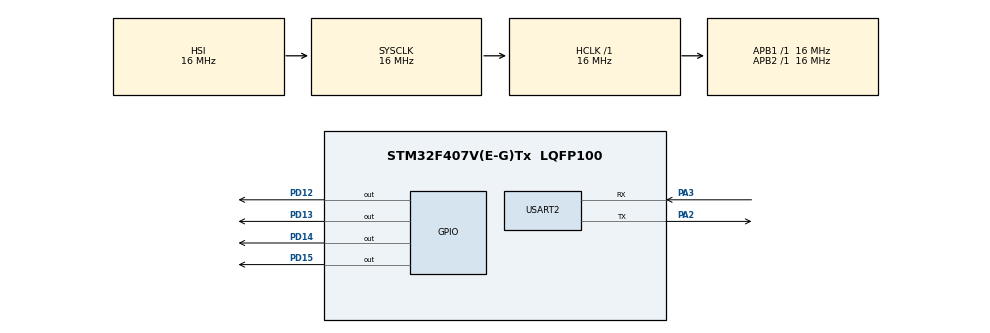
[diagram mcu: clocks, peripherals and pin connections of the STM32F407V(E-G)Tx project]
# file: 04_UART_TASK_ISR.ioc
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FREERTOS.Tasks01=defaultTask,24,128,StartDefaultTask,Default,NULL,Dynamic,NULL,NULL
FREERTOS.configUSE_NEWLIB_REENTRANT=1
Mcu.Family=STM32F4
Mcu.Name=STM32F407V(E-G)Tx
Mcu.Package=LQFP100
NVIC.PriorityGroup=NVIC_PRIORITYGROUP_4
NVIC.TIM1_UP_TIM10_IRQn=true\:15\:0\:false\:false\:true\:false\:false\:true\:true
NVIC.TimeBase=TIM1_UP_TIM10_IRQn
NVIC.TimeBaseIP=TIM1
NVIC.USART2_IRQn=true\:5\:0\:false\:false\:true\:true\:true\:true\:true
PA2.Mode=Asynchronous
PA2.Signal=USART2_TX
PA3.Mode=Asynchronous
PA3.Signal=USART2_RX
PD12.Signal=GPIO_Output
PD13.Signal=GPIO_Output
PD14.Signal=GPIO_Output
PD15.Signal=GPIO_Output
ProjectManager.HeapSize=0x200
ProjectManager.StackSize=0x400
ProjectManager.TargetToolchain=STM32CubeIDE
RCC.AHBFreq_Value=16000000
RCC.APB1Freq_Value=16000000
RCC.APB2Freq_Value=16000000
RCC.CortexFreq_Value=16000000
RCC.HSE_VALUE=25000000
RCC.HSI_VALUE=16000000
RCC.LSE_VALUE=32768
RCC.SYSCLKFreq_VALUE=16000000
RCC.VCOOutputFreq_Value=192000000
USART2.VirtualMode=VM_ASYNC
VP_FREERTOS_VS_CMSIS_V2.Mode=CMSIS_V2
VP_SYS_VS_tim1.Mode=TIM1
board=custom

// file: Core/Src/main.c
/* USER CODE BEGIN Header */
/**
  ******************************************************************************
  * @file           : main.c
  * @brief          : Main program body
  ******************************************************************************
  * @attention
  *
  * Copyright (c) 2025 STMicroelectronics.
  * All rights reserved.
  *
  * This software is licensed under terms that can be found in the LICENSE file
  * in the root directory of this software component.
  * If no LICENSE file comes with this software, it is provided AS-IS.
  *
  ******************************************************************************
  */
/* USER CODE END Header */
#include "main.h"
#include "cmsis_os.h"

UART_HandleTypeDef huart2;

/* Definitions for defaultTask */
osThreadId_t defaultTaskHandle;
const osThreadAttr_t defaultTask_attributes = {
  .name = "defaultTask",
  .stack_size = 128 * 4,
  .priority = (osPriority_t) osPriorityNormal,
};
/* USER CODE BEGIN PV */
uint8_t rcvByte;
int x,y;
osThreadId_t LedTaskHandle;
const osThreadAttr_t LedTask_attributes = {
  .name = "LedTask",
  .stack_size = 128 * 4,
  .priority = (osPriority_t) osPriorityNormal,
};
/* USER CODE END PV */

void SystemClock_Config(void);
static void MX_GPIO_Init(void);
static void MX_USART2_UART_Init(void);
void StartDefaultTask(void *argument);

/* USER CODE BEGIN PFP */
void LedTask(void *argument);

/* USER CODE END PFP */

int main(void)
{

  /* MCU Configuration--------------------------------------------------------*/

  /* Reset of all peripherals, Initializes the Flash interface and the Systick. */
  HAL_Init();

  /* Configure the system clock */
  SystemClock_Config();

  /* Initialize all configured peripherals */
  MX_GPIO_Init();
  MX_USART2_UART_Init();
  /* USER CODE BEGIN 2 */
  HAL_UART_Receive_IT(&huart2, &rcvByte, 1);

  /* USER CODE END 2 */

  /* Init scheduler */
  osKernelInitialize();

  /* Create the thread(s) */
  /* creation of defaultTask */
  defaultTaskHandle = osThreadNew(StartDefaultTask, NULL, &defaultTask_attributes);

  /* USER CODE BEGIN RTOS_THREADS */
  LedTaskHandle = osThreadNew(LedTask, NULL, &LedTask_attributes);
  /* USER CODE END RTOS_THREADS */

  /* Start scheduler */
  osKernelStart();

  /* We should never get here as control is now taken by the scheduler */

  /* Infinite loop */
  while (1)
  {

  }
}

void SystemClock_Config(void)
{
  RCC_OscInitTypeDef RCC_OscInitStruct = {0};
  RCC_ClkInitTypeDef RCC_ClkInitStruct = {0};

  /** Configure the main internal regulator output voltage
  */
  __HAL_RCC_PWR_CLK_ENABLE();
  __HAL_PWR_VOLTAGESCALING_CONFIG(PWR_REGULATOR_VOLTAGE_SCALE1);

  /** Initializes the RCC Oscillators according to the specified parameters
  * in the RCC_OscInitTypeDef structure.
  */
  RCC_OscInitStruct.OscillatorType = RCC_OSCILLATORTYPE_HSI;
  RCC_OscInitStruct.HSIState = RCC_HSI_ON;
  RCC_OscInitStruct.HSICalibrationValue = RCC_HSICALIBRATION_DEFAULT;
  RCC_OscInitStruct.PLL.PLLState = RCC_PLL_NONE;
  if (HAL_RCC_OscConfig(&RCC_OscInitStruct) != HAL_OK)
  {
    Error_Handler();
  }

  /** Initializes the CPU, AHB and APB buses clocks
  */
  RCC_ClkInitStruct.ClockType = RCC_CLOCKTYPE_HCLK|RCC_CLOCKTYPE_SYSCLK
                              |RCC_CLOCKTYPE_PCLK1|RCC_CLOCKTYPE_PCLK2;
  RCC_ClkInitStruct.SYSCLKSource = RCC_SYSCLKSOURCE_HSI;
  RCC_ClkInitStruct.AHBCLKDivider = RCC_SYSCLK_DIV1;
  RCC_ClkInitStruct.APB1CLKDivider = RCC_HCLK_DIV1;
  RCC_ClkInitStruct.APB2CLKDivider = RCC_HCLK_DIV1;

  if (HAL_RCC_ClockConfig(&RCC_ClkInitStruct, FLASH_LATENCY_0) != HAL_OK)
  {
    Error_Handler();
  }
}

static void MX_USART2_UART_Init(void)
{

  huart2.Instance = USART2;
  huart2.Init.BaudRate = 115200;
  huart2.Init.WordLength = UART_WORDLENGTH_8B;
  huart2.Init.StopBits = UART_STOPBITS_1;
  huart2.Init.Parity = UART_PARITY_NONE;
  huart2.Init.Mode = UART_MODE_TX_RX;
  huart2.Init.HwFlowCtl = UART_HWCONTROL_NONE;
  huart2.Init.OverSampling = UART_OVERSAMPLING_16;
  if (HAL_UART_Init(&huart2) != HAL_OK)
  {
    Error_Handler();
  }

}

static void MX_GPIO_Init(void)
{
  GPIO_InitTypeDef GPIO_InitStruct = {0};

  /* GPIO Ports Clock Enable */
  __HAL_RCC_GPIOA_CLK_ENABLE();
  __HAL_RCC_GPIOD_CLK_ENABLE();

  /*Configure GPIO pin Output Level */
  HAL_GPIO_WritePin(GPIOD, GPIO_PIN_12|GPIO_PIN_13|GPIO_PIN_14|GPIO_PIN_15, GPIO_PIN_RESET);

  /*Configure GPIO pins : PD12 PD13 PD14 PD15 */
  GPIO_InitStruct.Pin = GPIO_PIN_12|GPIO_PIN_13|GPIO_PIN_14|GPIO_PIN_15;
  GPIO_InitStruct.Mode = GPIO_MODE_OUTPUT_PP;
  GPIO_InitStruct.Pull = GPIO_NOPULL;
  GPIO_InitStruct.Speed = GPIO_SPEED_FREQ_LOW;
  HAL_GPIO_Init(GPIOD, &GPIO_InitStruct);

}

/* USER CODE BEGIN 4 */
void LedTask(void *argument)
{

  for(;;)
  {
      // Wait for the flag set by the UART interrupt
	  x++;
      osThreadFlagsWait(0x01, osFlagsWaitAny, osWaitForever);

	  if(rcvByte=='1'){
		  HAL_GPIO_WritePin(GPIOD, GPIO_PIN_12, 1);
	  }
	  else if(rcvByte=='0'){
		  HAL_GPIO_WritePin(GPIOD, GPIO_PIN_12, 0);
	  }
  }
}

void vApplicationIdleHook(void) {
	y++;
}

void HAL_UART_RxCpltCallback(UART_HandleTypeDef *huart){
    if (huart->Instance == USART2)
    {
        // Set a flag to wake up the LedTask
        osThreadFlagsSet(LedTaskHandle, 0x01);

        // Re-enable UART interrupt for the next byte
        HAL_UART_Receive_IT(&huart2, &rcvByte, 1);
    }
}

/* USER CODE END 4 */

void StartDefaultTask(void *argument)
{
  for(;;)
  {
    osDelay(1);
  }
}

void HAL_TIM_PeriodElapsedCallback(TIM_HandleTypeDef *htim)
{
  if (htim->Instance == TIM1)
  {
    HAL_IncTick();
  }
}

void Error_Handler(void)
{
  __disable_irq();
  while (1)
  {
  }
}
